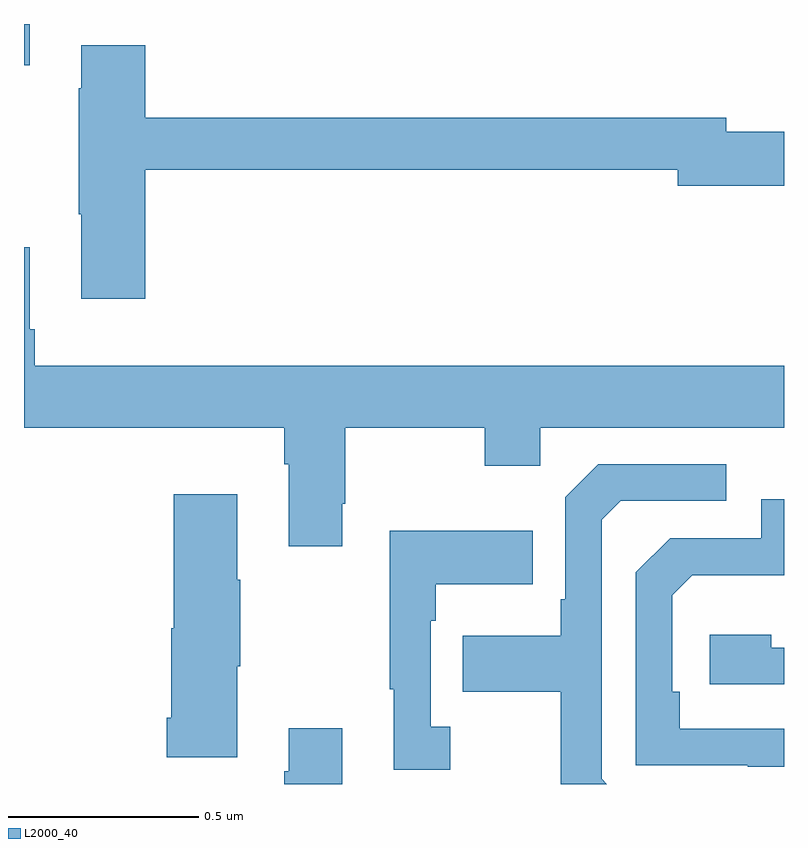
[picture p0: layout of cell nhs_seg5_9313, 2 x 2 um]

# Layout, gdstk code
import gdstk
lib = gdstk.Library(unit=1e-6, precision=1e-09)
def R(c, l, rs):  # rectangles x0, y0, x1, y1
    for r in rs: c.add(gdstk.rectangle(r[:2], r[2:], *l))
def P(c, l, *ps):  # polygons
    for p in ps: c.add(gdstk.Polygon(p, *l))
L2000_40 = (2000, 40)

nhs_seg5_9313 = lib.new_cell('nhs_seg5_9313')
R(nhs_seg5_9313, L2000_40, [(232,881.691,232.015,881.799)])
P(nhs_seg5_9313, L2000_40, [(232.319,881.416),(233.72,881.416),(233.72,881.374),(234,881.374),(234,881.516),(233.848,881.516),(233.848,881.552),(232.319,881.552),(232.319,881.743),(232.151,881.743),(232.151,881.63),(232.144,881.63),(232.144,881.299),(232.151,881.299),(232.151,881.076),(232.319,881.076)],
  [(232.837,880.537),(232.845,880.537),(232.845,880.736),(233.212,880.736),(233.212,880.637),(233.358,880.637),(233.358,880.736),(234,880.736),(234,880.9),(232.028,880.9),(232.028,880.996),(232.015,880.996),(232.015,881.212),(232,881.212),(232,880.736),(232.685,880.736),(232.685,880.64),(232.697,880.64),(232.697,880.425),(232.837,880.425)],
  [(233.52,879.813),(233.52,880.494),(233.571,880.545),(233.848,880.545),(233.848,880.641),(233.511,880.641),(233.424,880.554),(233.424,880.285),(233.412,880.285),(233.412,880.189),(233.155,880.189),(233.155,880.042),(233.412,880.042),(233.412,879.799),(233.534,879.799)],
  [(232.561,880.109),(232.569,880.109),(232.569,880.337),(232.561,880.337),(232.561,880.561),(232.394,880.561),(232.394,880.209),(232.388,880.209),(232.388,879.973),(232.376,879.973),(232.376,879.869),(232.561,879.869)],
  [(234,879.945),(233.726,879.945),(233.726,880.042),(233.706,880.042),(233.706,880.296),(233.759,880.349),(234,880.349),(234,880.548),(233.94,880.548),(233.94,880.446),(233.7,880.446),(233.61,880.356),(233.61,879.849),(233.905,879.849),(233.905,879.844),(234,879.844)],
  [(233.122,879.95),(233.07,879.95),(233.07,880.229),(233.083,880.229),(233.083,880.325),(233.339,880.325),(233.339,880.465),(232.962,880.465),(232.962,880.049),(232.973,880.049),(232.973,879.837),(233.122,879.837)],
  [(234,880.158),(233.966,880.158),(233.966,880.192),(233.805,880.192),(233.805,880.062),(234,880.062)],
  [(232.837,879.946),(232.697,879.946),(232.697,879.833),(232.685,879.833),(232.685,879.799),(232.837,879.799)])

lib.write_gds('nhs_seg5_9313.gds')
